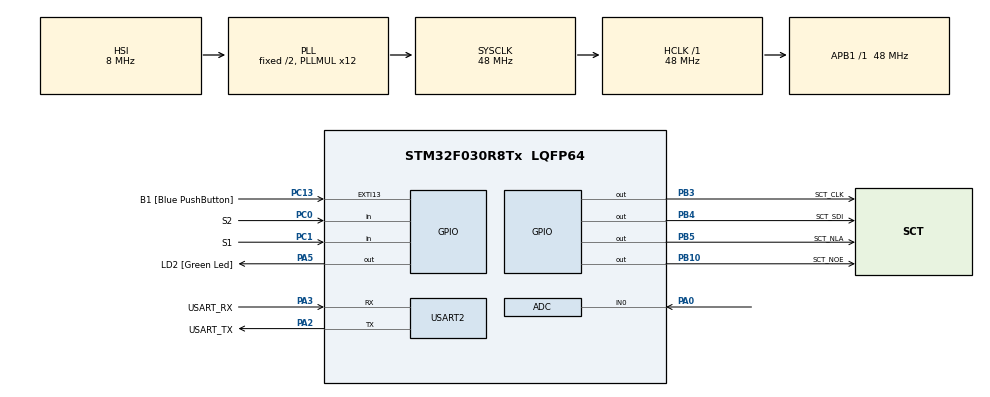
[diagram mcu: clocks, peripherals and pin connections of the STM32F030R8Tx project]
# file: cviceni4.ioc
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ADC.ContinuousConvMode=ENABLE
ADC.Overrun=ADC_OVR_DATA_OVERWRITTEN
ADC.SamplingTime=ADC_SAMPLETIME_239CYCLES_5
Mcu.Family=STM32F0
Mcu.Name=STM32F030R8Tx
Mcu.Package=LQFP64
NVIC.ADC1_IRQn=true\:0\:0\:false\:false\:true\:true\:true\:true
PA0.Mode=IN0
PA0.Signal=ADC_IN0
PA13.GPIO_Label=TMS
PA13.Mode=Serial_Wire
PA13.Signal=SYS_SWDIO
PA14.GPIO_Label=TCK
PA14.Mode=Serial_Wire
PA14.Signal=SYS_SWCLK
PA2.GPIO_Label=USART_TX
PA2.GPIO_Mode=GPIO_MODE_AF_PP
PA2.GPIO_PuPd=GPIO_NOPULL
PA2.GPIO_Speed=GPIO_SPEED_FREQ_LOW
PA2.Mode=Asynchronous
PA2.Signal=USART2_TX
PA3.GPIO_Label=USART_RX
PA3.GPIO_Mode=GPIO_MODE_AF_PP
PA3.GPIO_PuPd=GPIO_NOPULL
PA3.GPIO_Speed=GPIO_SPEED_FREQ_LOW
PA3.Mode=Asynchronous
PA3.Signal=USART2_RX
PA5.GPIO_Label=LD2 [Green Led]
PA5.GPIO_Mode=GPIO_MODE_OUTPUT_PP
PA5.GPIO_PuPd=GPIO_NOPULL
PA5.GPIO_Speed=GPIO_SPEED_FREQ_LOW
PA5.Signal=GPIO_Output
PB10.GPIO_Label=SCT_NOE
PB10.Signal=GPIO_Output
PB3.GPIO_Label=SCT_CLK
PB3.Signal=GPIO_Output
PB4.GPIO_Label=SCT_SDI
PB4.Signal=GPIO_Output
PB5.GPIO_Label=SCT_NLA
PB5.Signal=GPIO_Output
PC0.GPIO_Label=S2
PC0.GPIO_PuPd=GPIO_PULLUP
PC0.Signal=GPIO_Input
PC1.GPIO_Label=S1
PC1.GPIO_PuPd=GPIO_PULLUP
PC1.Signal=GPIO_Input
PC13.GPIO_Label=B1 [Blue PushButton]
PC13.GPIO_ModeDefaultEXTI=GPIO_MODE_IT_FALLING
PC13.Signal=GPXTI13
PC14-OSC32_IN.Mode=LSE-External-Oscillator
PC14-OSC32_IN.Signal=RCC_OSC32_IN
PC15-OSC32_OUT.Mode=LSE-External-Oscillator
PC15-OSC32_OUT.Signal=RCC_OSC32_OUT
PF0-OSC_IN.Mode=HSE-External-Clock-Source
PF0-OSC_IN.Signal=RCC_OSC_IN
PF1-OSC_OUT.Signal=RCC_OSC_OUT
ProjectManager.HeapSize=0x200
ProjectManager.StackSize=0x400
ProjectManager.TargetToolchain=STM32CubeIDE
RCC.AHBFreq_Value=48000000
RCC.APB1Freq_Value=48000000
RCC.APB1TimFreq_Value=48000000
RCC.HCLKFreq_Value=48000000
RCC.PLLMUL=RCC_PLL_MUL12
RCC.SYSCLKFreq_VALUE=48000000
RCC.SYSCLKSource=RCC_SYSCLKSOURCE_PLLCLK
USART2.VirtualMode-Asynchronous=VM_ASYNC
VP_ADC_TempSens_Input.Mode=IN-TempSens
VP_ADC_Vref_Input.Mode=IN-Vrefint
board=NUCLEO-F030R8

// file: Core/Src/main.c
/* USER CODE BEGIN Header */
/**
  ******************************************************************************
  * @file           : main.c
  * @brief          : Main program body
  ******************************************************************************
  * @attention
  *
  * Copyright (c) 2023 STMicroelectronics.
  * All rights reserved.
  *
  * This software is licensed under terms that can be found in the LICENSE file
  * in the root directory of this software component.
  * If no LICENSE file comes with this software, it is provided AS-IS.
  *
  ******************************************************************************
  */
/* USER CODE END Header */
#include "main.h"

/* USER CODE BEGIN Includes */
#include "sct.h"
/* USER CODE END Includes */

/* USER CODE BEGIN PD */
#define TEMP110_CAL_ADDR ((uint16_t*) ((uint32_t) 0x1FFFF7C2))
#define TEMP30_CAL_ADDR ((uint16_t*) ((uint32_t) 0x1FFFF7B8))
#define VREFINT_CAL_ADDR ((uint16_t*) ((uint32_t) 0x1FFFF7BA))
#define ADC_Q 12;
#define LED_TIME_LONG 1000
/* USER CODE END PD */

ADC_HandleTypeDef hadc;

UART_HandleTypeDef huart2;

void SystemClock_Config(void);
static void MX_GPIO_Init(void);
static void MX_USART2_UART_Init(void);
static void MX_ADC_Init(void);

/* USER CODE BEGIN 0 */
static volatile uint32_t raw_pot;
static volatile uint32_t avg_pot;
static volatile uint32_t raw_temp;
static volatile uint32_t raw_volt;
/*static uint32_t avg_pot = 0;*/

static enum { SHOW_POT, SHOW_VOLT, SHOW_TEMP } state = SHOW_POT;

void HAL_ADC_ConvCpltCallback(ADC_HandleTypeDef *hadc) {
static uint32_t channel;

	if (channel == 0) {
		raw_pot = HAL_ADC_GetValue(hadc);
		raw_pot = avg_pot >> ADC_Q;
		avg_pot -= raw_pot;
		avg_pot += HAL_ADC_GetValue(hadc);
	}
	if (channel == 1) {
		raw_volt = HAL_ADC_GetValue(hadc);
	}
	if (channel == 2) {
		raw_temp = HAL_ADC_GetValue(hadc);
	}

	if (__HAL_ADC_GET_FLAG(hadc, ADC_FLAG_EOS))
		channel = 0;
	else
		channel++;

}
/* USER CODE END 0 */

int main(void)
{

  /* MCU Configuration--------------------------------------------------------*/

  /* Reset of all peripherals, Initializes the Flash interface and the Systick. */
  HAL_Init();

  /* Configure the system clock */
  SystemClock_Config();

  /* Initialize all configured peripherals */
  MX_GPIO_Init();
  MX_USART2_UART_Init();
  MX_ADC_Init();
  /* USER CODE BEGIN 2 */
  sct_init();
  HAL_ADCEx_Calibration_Start(&hadc);
  HAL_ADC_Start_IT(&hadc);
  static uint32_t delay;
  /* USER CODE END 2 */

  /* Infinite loop */
  while (1)
  {

    /* USER CODE BEGIN 3 */

	    sct_value(501 * raw_pot / 4096, 9 * raw_pot / 4096);
		HAL_Delay(50);

		uint32_t Tick = HAL_GetTick();
		if (HAL_GPIO_ReadPin(S1_GPIO_Port, S1_Pin) == 0) {

			if (Tick > delay + LED_TIME_LONG) {
				state = SHOW_VOLT;
				uint32_t voltage = 330 * (*VREFINT_CAL_ADDR) / raw_volt;
				sct_value(voltage, 0);
				delay = Tick;

			}

		    state = SHOW_POT;
		}

		if (HAL_GPIO_ReadPin(S2_GPIO_Port, S2_Pin) == 0) {

				state = SHOW_TEMP;
				int32_t temperature = (raw_temp - (int32_t) (*TEMP30_CAL_ADDR));
				temperature = temperature * (int32_t) (110 - 30);
				temperature = temperature
						/ (int32_t) (*TEMP110_CAL_ADDR - *TEMP30_CAL_ADDR);
				temperature = temperature + 30;
				sct_value(temperature, 0);

			state = SHOW_POT;
		}
	}
  /* USER CODE END 3 */
}

void SystemClock_Config(void)
{
  RCC_OscInitTypeDef RCC_OscInitStruct = {0};
  RCC_ClkInitTypeDef RCC_ClkInitStruct = {0};

  /** Initializes the RCC Oscillators according to the specified parameters
  * in the RCC_OscInitTypeDef structure.
  */
  RCC_OscInitStruct.OscillatorType = RCC_OSCILLATORTYPE_HSI|RCC_OSCILLATORTYPE_HSI14;
  RCC_OscInitStruct.HSIState = RCC_HSI_ON;
  RCC_OscInitStruct.HSI14State = RCC_HSI14_ON;
  RCC_OscInitStruct.HSICalibrationValue = RCC_HSICALIBRATION_DEFAULT;
  RCC_OscInitStruct.HSI14CalibrationValue = 16;
  RCC_OscInitStruct.PLL.PLLState = RCC_PLL_ON;
  RCC_OscInitStruct.PLL.PLLSource = RCC_PLLSOURCE_HSI;
  RCC_OscInitStruct.PLL.PLLMUL = RCC_PLL_MUL12;
  RCC_OscInitStruct.PLL.PREDIV = RCC_PREDIV_DIV1;
  if (HAL_RCC_OscConfig(&RCC_OscInitStruct) != HAL_OK)
  {
    Error_Handler();
  }

  /** Initializes the CPU, AHB and APB buses clocks
  */
  RCC_ClkInitStruct.ClockType = RCC_CLOCKTYPE_HCLK|RCC_CLOCKTYPE_SYSCLK
                              |RCC_CLOCKTYPE_PCLK1;
  RCC_ClkInitStruct.SYSCLKSource = RCC_SYSCLKSOURCE_PLLCLK;
  RCC_ClkInitStruct.AHBCLKDivider = RCC_SYSCLK_DIV1;
  RCC_ClkInitStruct.APB1CLKDivider = RCC_HCLK_DIV1;

  if (HAL_RCC_ClockConfig(&RCC_ClkInitStruct, FLASH_LATENCY_1) != HAL_OK)
  {
    Error_Handler();
  }
}

static void MX_ADC_Init(void)
{

  ADC_ChannelConfTypeDef sConfig = {0};

  /** Configure the global features of the ADC (Clock, Resolution, Data Alignment and number of conversion)
  */
  hadc.Instance = ADC1;
  hadc.Init.ClockPrescaler = ADC_CLOCK_ASYNC_DIV1;
  hadc.Init.Resolution = ADC_RESOLUTION_12B;
  hadc.Init.DataAlign = ADC_DATAALIGN_RIGHT;
  hadc.Init.ScanConvMode = ADC_SCAN_DIRECTION_FORWARD;
  hadc.Init.EOCSelection = ADC_EOC_SINGLE_CONV;
  hadc.Init.LowPowerAutoWait = DISABLE;
  hadc.Init.LowPowerAutoPowerOff = DISABLE;
  hadc.Init.ContinuousConvMode = ENABLE;
  hadc.Init.DiscontinuousConvMode = DISABLE;
  hadc.Init.ExternalTrigConv = ADC_SOFTWARE_START;
  hadc.Init.ExternalTrigConvEdge = ADC_EXTERNALTRIGCONVEDGE_NONE;
  hadc.Init.DMAContinuousRequests = DISABLE;
  hadc.Init.Overrun = ADC_OVR_DATA_OVERWRITTEN;
  if (HAL_ADC_Init(&hadc) != HAL_OK)
  {
    Error_Handler();
  }

  /** Configure for the selected ADC regular channel to be converted.
  */
  sConfig.Channel = ADC_CHANNEL_0;
  sConfig.Rank = ADC_RANK_CHANNEL_NUMBER;
  sConfig.SamplingTime = ADC_SAMPLETIME_239CYCLES_5;
  if (HAL_ADC_ConfigChannel(&hadc, &sConfig) != HAL_OK)
  {
    Error_Handler();
  }

  /** Configure for the selected ADC regular channel to be converted.
  */
  sConfig.Channel = ADC_CHANNEL_TEMPSENSOR;
  if (HAL_ADC_ConfigChannel(&hadc, &sConfig) != HAL_OK)
  {
    Error_Handler();
  }

  /** Configure for the selected ADC regular channel to be converted.
  */
  sConfig.Channel = ADC_CHANNEL_VREFINT;
  if (HAL_ADC_ConfigChannel(&hadc, &sConfig) != HAL_OK)
  {
    Error_Handler();
  }

}

static void MX_USART2_UART_Init(void)
{

  huart2.Instance = USART2;
  huart2.Init.BaudRate = 38400;
  huart2.Init.WordLength = UART_WORDLENGTH_8B;
  huart2.Init.StopBits = UART_STOPBITS_1;
  huart2.Init.Parity = UART_PARITY_NONE;
  huart2.Init.Mode = UART_MODE_TX_RX;
  huart2.Init.HwFlowCtl = UART_HWCONTROL_NONE;
  huart2.Init.OverSampling = UART_OVERSAMPLING_16;
  huart2.Init.OneBitSampling = UART_ONE_BIT_SAMPLE_DISABLE;
  huart2.AdvancedInit.AdvFeatureInit = UART_ADVFEATURE_NO_INIT;
  if (HAL_UART_Init(&huart2) != HAL_OK)
  {
    Error_Handler();
  }

}

static void MX_GPIO_Init(void)
{
  GPIO_InitTypeDef GPIO_InitStruct = {0};

  /* GPIO Ports Clock Enable */
  __HAL_RCC_GPIOC_CLK_ENABLE();
  __HAL_RCC_GPIOF_CLK_ENABLE();
  __HAL_RCC_GPIOA_CLK_ENABLE();
  __HAL_RCC_GPIOB_CLK_ENABLE();

  /*Configure GPIO pin Output Level */
  HAL_GPIO_WritePin(LD2_GPIO_Port, LD2_Pin, GPIO_PIN_RESET);

  /*Configure GPIO pin Output Level */
  HAL_GPIO_WritePin(GPIOB, SCT_NOE_Pin|SCT_CLK_Pin|SCT_SDI_Pin|SCT_NLA_Pin, GPIO_PIN_RESET);

  /*Configure GPIO pin : B1_Pin */
  GPIO_InitStruct.Pin = B1_Pin;
  GPIO_InitStruct.Mode = GPIO_MODE_IT_FALLING;
  GPIO_InitStruct.Pull = GPIO_NOPULL;
  HAL_GPIO_Init(B1_GPIO_Port, &GPIO_InitStruct);

  /*Configure GPIO pins : S2_Pin S1_Pin */
  GPIO_InitStruct.Pin = S2_Pin|S1_Pin;
  GPIO_InitStruct.Mode = GPIO_MODE_INPUT;
  GPIO_InitStruct.Pull = GPIO_PULLUP;
  HAL_GPIO_Init(GPIOC, &GPIO_InitStruct);

  /*Configure GPIO pin : LD2_Pin */
  GPIO_InitStruct.Pin = LD2_Pin;
  GPIO_InitStruct.Mode = GPIO_MODE_OUTPUT_PP;
  GPIO_InitStruct.Pull = GPIO_NOPULL;
  GPIO_InitStruct.Speed = GPIO_SPEED_FREQ_LOW;
  HAL_GPIO_Init(LD2_GPIO_Port, &GPIO_InitStruct);

  /*Configure GPIO pins : SCT_NOE_Pin SCT_CLK_Pin SCT_SDI_Pin SCT_NLA_Pin */
  GPIO_InitStruct.Pin = SCT_NOE_Pin|SCT_CLK_Pin|SCT_SDI_Pin|SCT_NLA_Pin;
  GPIO_InitStruct.Mode = GPIO_MODE_OUTPUT_PP;
  GPIO_InitStruct.Pull = GPIO_NOPULL;
  GPIO_InitStruct.Speed = GPIO_SPEED_FREQ_LOW;
  HAL_GPIO_Init(GPIOB, &GPIO_InitStruct);

}

void Error_Handler(void)
{
  __disable_irq();
  while (1)
  {
  }
}
